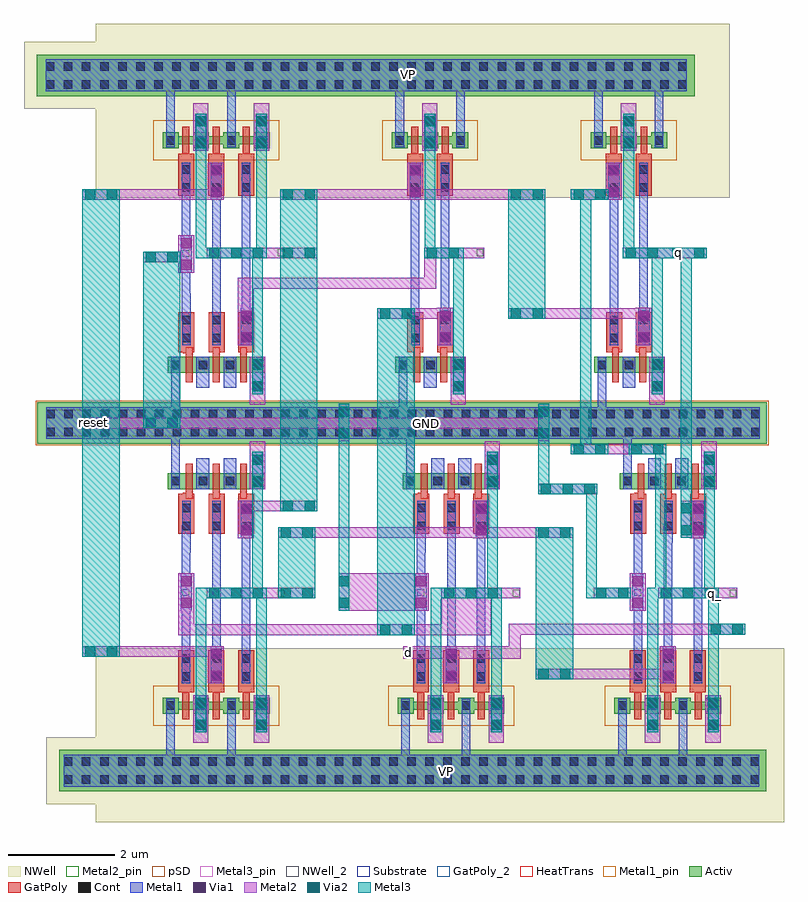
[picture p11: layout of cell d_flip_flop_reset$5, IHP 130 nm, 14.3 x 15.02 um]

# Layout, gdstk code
from math import pi, radians
import gdstk
lib = gdstk.Library(unit=1e-6, precision=1e-09)
def R(c, l, rs):  # rectangles x0, y0, x1, y1
    for r in rs: c.add(gdstk.rectangle(r[:2], r[2:], *l))
def A(c, l, x, y, w, h, nx, ny, dx, dy):  # array of equal rectangles
    R(c, l, [(x+i*dx, y+j*dy, x+i*dx+w, y+j*dy+h) for i in range(nx) for j in range(ny)])
Activ = (1, 0)
GatPoly = (5, 0)
GatPoly_2 = (5, 2)
Cont = (6, 0)
Metal1 = (8, 0)
Metal1_pin = (8, 2)
Metal2 = (10, 0)
Metal2_pin = (10, 2)
pSD = (14, 0)
Via1 = (19, 0)
Via2 = (29, 0)
Metal3 = (30, 0)
Metal3_pin = (30, 2)
NWell = (31, 0)
NWell_2 = (31, 2)
Substrate = (40, 0)
HeatTrans = (51, 0)

ntap1_29 = lib.new_cell('ntap1$29')
R(ntap1_29, Activ, [(0,0,2.5,0.78)])
A(ntap1_29, Cont, 0.15, 0.14, 0.16, 0.16, 7, 2, 0.34, 0.34)
R(ntap1_29, Metal1, [(0.15,0.09,2.35,0.69)])
R(ntap1_29, Metal1_pin, [(0.15,0.09,2.35,0.69), (0.15,0.14,2.35,0.64)])
R(ntap1_29, NWell, [(-0.24,-0.24,2.74,1.02), (0,0,2.5,0.78)])
R(ntap1_29, NWell_2, [(0,0,2.5,0.78)])
ntap1_29.add(gdstk.Label('well', (1.25,0.01), layer=63, texttype=0))
ntap1_29.add(gdstk.Label('well', (1.25,0.01), layer=31, texttype=0))

nmos_12 = lib.new_cell('nmos$12')
A(nmos_12, Activ, 0, 0, 0.3, 0.3, 3, 1, 0.51, 0)
R(nmos_12, Activ, [(0,0,1.32,0.3)])
R(nmos_12, GatPoly, [(0.34,-0.18,0.47,0.48), (0.85,-0.18,0.98,0.48)])
R(nmos_12, GatPoly_2, [(0.34,-0.18,0.47,0.48)])
A(nmos_12, Cont, 0.07, 0.07, 0.16, 0.16, 3, 1, 0.51, 0)
A(nmos_12, Metal1, 0.07, 0, 0.16, 0.3, 3, 1, 0.51, 0)
R(nmos_12, Metal1_pin, [(0.07,0,0.23,0.3), (0.58,0,0.74,0.3)])
R(nmos_12, HeatTrans, [(0.34,-0.18,0.47,0.48), (0.85,-0.18,0.98,0.48)])
nmos_12.add(gdstk.Label('nmos', (0.405,0.15), layer=63, texttype=0))
nmos_12.add(gdstk.Label('nmos', (0.405,0.15), layer=51, texttype=0))
nmos_12.add(gdstk.Label('nmos', (0.915,0.15), layer=51, texttype=0))

ptap1_24 = lib.new_cell('ptap1$24')
R(ptap1_24, Activ, [(0,0,2.5,0.78)])
A(ptap1_24, Cont, 0.15, 0.14, 0.16, 0.16, 7, 2, 0.34, 0.34)
R(ptap1_24, Metal1, [(0.15,0.09,2.35,0.69), (0.15,0.14,2.35,0.64)])
R(ptap1_24, Metal1_pin, [(0.15,0.14,2.35,0.64)])
R(ptap1_24, pSD, [(-0.03,-0.03,2.53,0.81)])
R(ptap1_24, Substrate, [(0,0,2.5,0.78)])
ptap1_24.add(gdstk.Label('sub!', (1.25,0.01), layer=63, texttype=0))
ptap1_24.add(gdstk.Label('sub!', (1.25,0.01), layer=40, texttype=0))

via_34 = lib.new_cell('Via$34')
R(via_34, Metal2, [(-0.1,-0.35,0.1,0.35)])
R(via_34, Via2, [(-0.095,-0.3,0.095,-0.11), (-0.095,0.11,0.095,0.3)])
R(via_34, Metal3, [(-0.1,-0.35,0.1,0.35)])

via_1_5 = lib.new_cell('Via$1$5')
R(via_1_5, Metal1, [(-0.105,-0.35,0.105,0.35)])
R(via_1_5, Metal2, [(-0.1,-0.35,0.1,0.35)])
R(via_1_5, Via1, [(-0.095,-0.3,0.095,-0.11), (-0.095,0.11,0.095,0.3)])

via_2_8 = lib.new_cell('Via$2$8')
R(via_2_8, GatPoly, [(-0.32,-0.15,0.32,0.15)])
R(via_2_8, Cont, [(-0.25,-0.08,-0.09,0.08), (0.09,-0.08,0.25,0.08)])
R(via_2_8, Metal1, [(-0.3,-0.08,0.3,0.08)])

pmos_10 = lib.new_cell('pmos$10')
A(pmos_10, Activ, 0, 0, 0.3, 0.3, 3, 1, 0.57, 0)
R(pmos_10, Activ, [(0,0.075,1.44,0.225)])
R(pmos_10, GatPoly, [(0.37,-0.105,0.5,0.405), (0.37,-0.105,0.5,0.405), (0.94,-0.105,1.07,0.405)])
A(pmos_10, Cont, 0.07, 0.07, 0.16, 0.16, 3, 1, 0.57, 0)
R(pmos_10, Metal1, [(0.07,0.02,0.23,0.28), (0.07,0.02,0.23,0.28), (0.64,0.02,0.8,0.28), (0.64,0.02,0.8,0.28), (1.21,0.02,1.37,0.28)])
R(pmos_10, pSD, [(-0.18,-0.225,1.62,0.525)])
R(pmos_10, NWell, [(-0.31,-0.31,1.75,0.61)])
R(pmos_10, Substrate, [(1.14,0,1.44,0.3)])
R(pmos_10, HeatTrans, [(0.37,-0.105,0.5,0.405), (0.94,-0.105,1.07,0.405)])
pmos_10.add(gdstk.Label('pmos', (0.435,0.15), layer=63, texttype=0))
pmos_10.add(gdstk.Label('pmos', (0.435,0.15), layer=51, texttype=0))
pmos_10.add(gdstk.Label('pmos', (1.005,0.15), layer=51, texttype=0))

nand_2in_nmosx2_5 = lib.new_cell('NAND_2in_nmosx2$5')
R(nand_2in_nmosx2_5, GatPoly, [(0.605,-3.005,0.905,-2.895), (1.165,-3.005,1.465,-2.895), (0.6,0.58,0.9,0.73), (1.16,0.58,1.46,0.73), (0.68,0.68,0.81,0.77), (1.25,0.68,1.38,0.77)])
R(nand_2in_nmosx2_5, Metal1, [(0.445,-4.15,0.605,-3.37), (0.915,-3.675,1.155,-3.415), (0.915,-3.435,1.155,-3.095), (0.67,-2.44,0.835,-2.21), (0.67,-2.21,0.83,-1.27), (1.23,-2.21,1.39,-1.27), (0.67,-1.31,0.83,-0.37), (1.23,-1.31,1.39,-0.37), (0.67,-0.37,0.83,-0.12), (1.23,-0.37,1.39,-0.01), (1.52,1,1.68,1.2), (0.38,1.01,0.54,1.15), (0.38,1.115,0.54,1.99), (1.52,1.115,1.68,1.94)])
R(nand_2in_nmosx2_5, Metal1_pin, [(0.44,-4.395,0.57,-4.265), (0.4,2.15,0.53,2.28)])
R(nand_2in_nmosx2_5, Metal2, [(1.415,-3.995,1.705,-3.795), (1.415,-3.795,1.705,-3.095), (1.165,-2.875,1.465,-2.175), (1.62,-1.24,2.05,-1.04), (0.6,-0.14,0.9,0.56), (0.88,0.78,1.17,0.98), (0.88,0.98,1.17,1.68)])
R(nand_2in_nmosx2_5, Metal2_pin, [(1.255,-2.345,1.385,-2.215), (1.905,-1.205,2.035,-1.075), (0.69,-0.1,0.82,0.03)])
R(nand_2in_nmosx2_5, Metal3, [(1.465,-3.105,1.665,-2.905), (1.465,-2.905,1.665,-1.045), (0.93,-1.09,1.13,0.17), (0.93,0.1,1.13,0.62), (0.93,0.62,1.13,0.72), (0.93,0.71,1.13,0.87)])
R(nand_2in_nmosx2_5, NWell, [(-0.85,-0.1,2.93,3.17)])
nand_2in_nmosx2_5.add(gdstk.Reference(ntap1_29, (-0.23,1.81)))
nand_2in_nmosx2_5.add(gdstk.Reference(nmos_12, (1.695,-3.095), rotation=pi))
nand_2in_nmosx2_5.add(gdstk.Reference(ptap1_24, (-0.22,-4.73)))
nand_2in_nmosx2_5.add(gdstk.Reference(via_34, (1.27,-1.14), rotation=3*pi/2))
nand_2in_nmosx2_5.add(gdstk.Reference(via_1_5, (1.565,-3.445), rotation=pi))
nand_2in_nmosx2_5.add(gdstk.Reference(via_1_5, (1.315,-2.525), rotation=pi))
nand_2in_nmosx2_5.add(gdstk.Reference(via_1_5, (0.75,0.21), rotation=pi))
nand_2in_nmosx2_5.add(gdstk.Reference(via_1_5, (1.03,1.13), rotation=pi))
nand_2in_nmosx2_5.add(gdstk.Reference(via_2_8, (0.755,-2.575), rotation=3*pi/2))
nand_2in_nmosx2_5.add(gdstk.Reference(via_2_8, (1.315,-2.575), rotation=3*pi/2))
nand_2in_nmosx2_5.add(gdstk.Reference(via_2_8, (0.75,0.26), rotation=3*pi/2))
nand_2in_nmosx2_5.add(gdstk.Reference(via_2_8, (1.31,0.26), rotation=3*pi/2))
nand_2in_nmosx2_5.add(gdstk.Reference(via_34, (1.565,-3.445), rotation=pi))
nand_2in_nmosx2_5.add(gdstk.Reference(via_34, (1.03,1.13), rotation=pi))
nand_2in_nmosx2_5.add(gdstk.Reference(pmos_10, (1.75,1.13), rotation=pi))
nand_2in_nmosx2_5.add(gdstk.Label('VP', (0.46,2.21), layer=8, texttype=25))
nand_2in_nmosx2_5.add(gdstk.Label('GND', (0.505,-4.325), layer=8, texttype=25))
nand_2in_nmosx2_5.add(gdstk.Label('y', (1.97,-1.14), layer=10, texttype=25))
nand_2in_nmosx2_5.add(gdstk.Label('b', (0.75,-0.04), layer=10, texttype=25))
nand_2in_nmosx2_5.add(gdstk.Label('a', (1.315,-2.285), layer=10, texttype=25))

via_3_7 = lib.new_cell('Via$3$7')
R(via_3_7, Metal2, [(-0.1,-0.555,0.1,0.555)])
A(via_3_7, Via2, -0.095, -0.505, 0.19, 0.19, 1, 3, 0, 0.41)
R(via_3_7, Metal3, [(-0.1,-0.555,0.1,0.555)])

nmos_1_7 = lib.new_cell('nmos$1$7')
A(nmos_1_7, Activ, 0, 0, 0.3, 0.3, 4, 1, 0.51, 0)
R(nmos_1_7, Activ, [(0,0,1.83,0.3)])
A(nmos_1_7, GatPoly, 0.34, -0.18, 0.13, 0.66, 3, 1, 0.51, 0)
R(nmos_1_7, GatPoly_2, [(0.34,-0.18,0.47,0.48)])
A(nmos_1_7, Cont, 0.07, 0.07, 0.16, 0.16, 4, 1, 0.51, 0)
A(nmos_1_7, Metal1, 0.07, 0, 0.16, 0.3, 4, 1, 0.51, 0)
R(nmos_1_7, Metal1_pin, [(0.07,0,0.23,0.3), (0.58,0,0.74,0.3)])
A(nmos_1_7, HeatTrans, 0.34, -0.18, 0.13, 0.66, 3, 1, 0.51, 0)
nmos_1_7.add(gdstk.Label('nmos', (0.405,0.15), layer=63, texttype=0))
nmos_1_7.add(gdstk.Label('nmos', (0.405,0.15), layer=51, texttype=0))
nmos_1_7.add(gdstk.Label('nmos', (0.915,0.15), layer=51, texttype=0))
nmos_1_7.add(gdstk.Label('nmos', (1.425,0.15), layer=51, texttype=0))

ntap1_1_12 = lib.new_cell('ntap1$1$12')
R(ntap1_1_12, Activ, [(0,0,3.5,0.78)])
A(ntap1_1_12, Cont, 0.14, 0.14, 0.16, 0.16, 10, 2, 0.34, 0.34)
R(ntap1_1_12, Metal1, [(0.14,0.09,3.36,0.69)])
R(ntap1_1_12, Metal1_pin, [(0.14,0.09,3.36,0.69), (0.14,0.14,3.36,0.64)])
R(ntap1_1_12, NWell, [(-0.24,-0.24,3.74,1.02), (0,0,3.5,0.78)])
R(ntap1_1_12, NWell_2, [(0,0,3.5,0.78)])
ntap1_1_12.add(gdstk.Label('well', (1.75,0.01), layer=63, texttype=0))
ntap1_1_12.add(gdstk.Label('well', (1.75,0.01), layer=31, texttype=0))

ptap1_1_5 = lib.new_cell('ptap1$1$5')
R(ptap1_1_5, Activ, [(0,0,3.5,0.78)])
A(ptap1_1_5, Cont, 0.14, 0.14, 0.16, 0.16, 10, 2, 0.34, 0.34)
R(ptap1_1_5, Metal1, [(0.14,0.09,3.36,0.69), (0.14,0.14,3.36,0.64)])
R(ptap1_1_5, Metal1_pin, [(0.14,0.14,3.36,0.64)])
R(ptap1_1_5, pSD, [(-0.03,-0.03,3.53,0.81)])
R(ptap1_1_5, Substrate, [(0,0,3.5,0.78)])
ptap1_1_5.add(gdstk.Label('sub!', (1.75,0.01), layer=63, texttype=0))
ptap1_1_5.add(gdstk.Label('sub!', (1.75,0.01), layer=40, texttype=0))

pmos_1_9 = lib.new_cell('pmos$1$9')
A(pmos_1_9, Activ, 0, 0, 0.3, 0.3, 4, 1, 0.57, 0)
R(pmos_1_9, Activ, [(0,0.075,2.01,0.225)])
A(pmos_1_9, GatPoly, 0.37, -0.105, 0.13, 0.51, 3, 1, 0.57, 0)
R(pmos_1_9, GatPoly, [(0.37,-0.105,0.5,0.405)])
A(pmos_1_9, Cont, 0.07, 0.07, 0.16, 0.16, 4, 1, 0.57, 0)
A(pmos_1_9, Metal1, 0.64, 0.02, 0.16, 0.26, 3, 1, 0.57, 0)
R(pmos_1_9, Metal1, [(0.07,0.02,0.23,0.28), (0.07,0.02,0.23,0.28), (0.64,0.02,0.8,0.28)])
R(pmos_1_9, pSD, [(-0.18,-0.225,2.19,0.525)])
R(pmos_1_9, NWell, [(-0.31,-0.31,2.32,0.61)])
R(pmos_1_9, Substrate, [(1.71,0,2.01,0.3)])
A(pmos_1_9, HeatTrans, 0.37, -0.105, 0.13, 0.51, 3, 1, 0.57, 0)
pmos_1_9.add(gdstk.Label('pmos', (0.435,0.15), layer=63, texttype=0))
pmos_1_9.add(gdstk.Label('pmos', (0.435,0.15), layer=51, texttype=0))
pmos_1_9.add(gdstk.Label('pmos', (1.005,0.15), layer=51, texttype=0))
pmos_1_9.add(gdstk.Label('pmos', (1.575,0.15), layer=51, texttype=0))

nand_3in_nmosx3_8 = lib.new_cell('NAND_3in_nmosx3$8')
R(nand_3in_nmosx3_8, GatPoly, [(0.115,-3.025,0.245,-2.915), (0.685,-3.025,0.815,-2.915), (0.035,-3.005,0.335,-2.895), (0.605,-3.005,0.905,-2.895), (1.165,-3.005,1.465,-2.895), (0.03,0.58,0.33,0.73), (0.6,0.58,0.9,0.73), (1.16,0.58,1.46,0.73), (0.68,0.68,0.81,0.77), (1.25,0.68,1.38,0.77)])
R(nand_3in_nmosx3_8, Metal1, [(-0.095,-4.15,0.065,-3.37), (0.375,-3.675,0.615,-3.415), (0.885,-3.675,1.125,-3.415), (0.375,-3.435,0.615,-3.095), (0.885,-3.435,1.125,-3.095), (0.67,-2.44,0.835,-2.09), (0.1,-2.42,0.265,-1.91), (0.67,-2.21,0.83,-1.27), (1.23,-2.21,1.39,-1.27), (0.1,-1.91,0.26,-0.56), (0.67,-1.31,0.83,-0.37), (1.23,-1.31,1.39,-0.37), (0.1,-0.62,0.26,-0.04), (1.23,-0.53,1.39,0), (0.67,-0.37,0.83,-0.11), (0.95,1,1.11,1.2), (-0.19,1.01,-0.03,1.15), (-0.19,1.115,-0.03,1.99), (0.95,1.115,1.11,1.94)])
R(nand_3in_nmosx3_8, Metal1_pin, [(0.44,-4.405,0.57,-4.275), (0.74,2.15,0.87,2.28)])
R(nand_3in_nmosx3_8, Metal2, [(1.375,-3.995,1.665,-3.795), (1.375,-3.795,1.665,-3.095), (1.155,-2.875,1.455,-2.175), (0.03,-1.51,0.33,-0.81), (1.62,-1.24,2.05,-1.04), (0.59,-0.14,0.89,0.56), (0.31,0.78,0.6,0.98), (1.45,0.78,1.74,0.98), (0.31,0.98,0.6,1.68), (1.45,0.98,1.74,1.68)])
R(nand_3in_nmosx3_8, Metal2_pin, [(1.255,-2.385,1.385,-2.255), (0.11,-1.215,0.24,-1.085), (1.905,-1.205,2.035,-1.075), (0.69,-0.07,0.82,0.06)])
R(nand_3in_nmosx3_8, Metal3, [(1.425,-3.105,1.625,-2.905), (1.425,-2.905,1.625,-2.5), (1.425,-2.5,1.625,-1.15), (0.36,-1.24,0.56,-0.97), (0.38,-1.24,0.565,-1.04), (1.66,-1.24,1.7,-1.09), (1.5,-1.09,1.7,0.17), (0.36,-0.97,0.56,0.26), (1.5,-0.03,1.7,0.62), (0.36,0.08,0.56,0.78), (1.5,0.62,1.7,0.72), (1.5,0.71,1.7,0.87)])
R(nand_3in_nmosx3_8, NWell, [(-1.52,-0.1,-0.85,3.17), (-0.85,-0.1,2.93,3.17)])
nand_3in_nmosx3_8.add(gdstk.Reference(via_1_5, (1.525,-3.445), rotation=pi))
nand_3in_nmosx3_8.add(gdstk.Reference(via_1_5, (1.315,-2.525), rotation=pi))
nand_3in_nmosx3_8.add(gdstk.Reference(via_1_5, (0.18,-1.16), rotation=pi))
nand_3in_nmosx3_8.add(gdstk.Reference(via_1_5, (0.75,0.21), rotation=pi))
nand_3in_nmosx3_8.add(gdstk.Reference(via_1_5, (0.46,1.13), rotation=pi))
nand_3in_nmosx3_8.add(gdstk.Reference(via_1_5, (1.6,1.13), rotation=pi))
nand_3in_nmosx3_8.add(gdstk.Reference(via_3_7, (1.12,-1.14), rotation=3*pi/2))
nand_3in_nmosx3_8.add(gdstk.Reference(nmos_1_7, (1.665,-3.095), rotation=pi))
nand_3in_nmosx3_8.add(gdstk.Reference(ntap1_1_12, (-0.9,1.81)))
nand_3in_nmosx3_8.add(gdstk.Reference(ptap1_1_5, (-0.89,-4.73)))
nand_3in_nmosx3_8.add(gdstk.Reference(via_34, (1.525,-3.445), rotation=pi))
nand_3in_nmosx3_8.add(gdstk.Reference(via_34, (0.46,1.13), rotation=pi))
nand_3in_nmosx3_8.add(gdstk.Reference(via_34, (1.6,1.13), rotation=pi))
nand_3in_nmosx3_8.add(gdstk.Reference(via_2_8, (0.185,-2.575), rotation=3*pi/2))
nand_3in_nmosx3_8.add(gdstk.Reference(via_2_8, (0.755,-2.575), rotation=3*pi/2))
nand_3in_nmosx3_8.add(gdstk.Reference(via_2_8, (1.315,-2.575), rotation=3*pi/2))
nand_3in_nmosx3_8.add(gdstk.Reference(via_2_8, (0.18,0.26), rotation=3*pi/2))
nand_3in_nmosx3_8.add(gdstk.Reference(via_2_8, (0.75,0.26), rotation=3*pi/2))
nand_3in_nmosx3_8.add(gdstk.Reference(via_2_8, (1.31,0.26), rotation=3*pi/2))
nand_3in_nmosx3_8.add(gdstk.Reference(pmos_1_9, (1.75,1.13), rotation=pi))
nand_3in_nmosx3_8.add(gdstk.Label('VP', (0.8,2.21), layer=8, texttype=25))
nand_3in_nmosx3_8.add(gdstk.Label('GND', (0.505,-4.335), layer=8, texttype=25))
nand_3in_nmosx3_8.add(gdstk.Label('y', (1.97,-1.14), layer=10, texttype=25))
nand_3in_nmosx3_8.add(gdstk.Label('b', (0.76,0.02), layer=10, texttype=25))
nand_3in_nmosx3_8.add(gdstk.Label('c', (0.17,-1.15), layer=10, texttype=25))
nand_3in_nmosx3_8.add(gdstk.Label('a', (1.315,-2.325), layer=10, texttype=25))

ptap1_3_7 = lib.new_cell('ptap1$3$7')
R(ptap1_3_7, Activ, [(0,0,2.2,0.78)])
A(ptap1_3_7, Cont, 0.17, 0.14, 0.16, 0.16, 6, 2, 0.34, 0.34)
R(ptap1_3_7, Metal1, [(0.17,0.09,2.03,0.69), (0.17,0.14,2.03,0.64)])
R(ptap1_3_7, Metal1_pin, [(0.17,0.14,2.03,0.64)])
R(ptap1_3_7, pSD, [(-0.03,-0.03,2.23,0.81)])
R(ptap1_3_7, Substrate, [(0,0,2.2,0.78)])
ptap1_3_7.add(gdstk.Label('sub!', (1.1,0.01), layer=63, texttype=0))
ptap1_3_7.add(gdstk.Label('sub!', (1.1,0.01), layer=40, texttype=0))

ntap1_2_7 = lib.new_cell('ntap1$2$7')
R(ntap1_2_7, Activ, [(0,0,1.7,0.78)])
A(ntap1_2_7, Cont, 0.09, 0.14, 0.16, 0.16, 5, 2, 0.34, 0.34)
R(ntap1_2_7, Metal1, [(0.09,0.09,1.61,0.69)])
R(ntap1_2_7, Metal1_pin, [(0.09,0.09,1.61,0.69), (0.09,0.14,1.61,0.64)])
R(ntap1_2_7, NWell, [(-0.24,-0.24,1.94,1.02), (0,0,1.7,0.78)])
R(ntap1_2_7, NWell_2, [(0,0,1.7,0.78)])
ntap1_2_7.add(gdstk.Label('well', (0.85,0.01), layer=63, texttype=0))
ntap1_2_7.add(gdstk.Label('well', (0.85,0.01), layer=31, texttype=0))

ntap1_5_5 = lib.new_cell('ntap1$5$5')
R(ntap1_5_5, Activ, [(0,0,2.4,0.78)])
A(ntap1_5_5, Cont, 0.1, 0.14, 0.16, 0.16, 7, 2, 0.34, 0.34)
R(ntap1_5_5, Metal1, [(0.1,0.09,2.3,0.69)])
R(ntap1_5_5, Metal1_pin, [(0.1,0.09,2.3,0.69), (0.1,0.14,2.3,0.64)])
R(ntap1_5_5, NWell, [(-0.24,-0.24,2.64,1.02), (0,0,2.4,0.78)])
R(ntap1_5_5, NWell_2, [(0,0,2.4,0.78)])
ntap1_5_5.add(gdstk.Label('well', (1.2,0.01), layer=63, texttype=0))
ntap1_5_5.add(gdstk.Label('well', (1.2,0.01), layer=31, texttype=0))

via_4_6 = lib.new_cell('Via$4$6')
R(via_4_6, Metal2, [(-0.35,-0.1,0.35,0.1)])
R(via_4_6, Via2, [(-0.3,-0.095,-0.11,0.095), (0.11,-0.095,0.3,0.095)])
R(via_4_6, Metal3, [(-0.35,-0.1,0.35,0.1)])

via_5_18 = lib.new_cell('Via$5$18')
R(via_5_18, Metal2, [(-0.555,-0.1,0.555,0.1)])
A(via_5_18, Via2, -0.505, -0.095, 0.19, 0.19, 3, 1, 0.41, 0)
R(via_5_18, Metal3, [(-0.555,-0.1,0.555,0.1)])

ntap1_4_5 = lib.new_cell('ntap1$4$5')
R(ntap1_4_5, Activ, [(0,0,2.2,0.78)])
A(ntap1_4_5, Cont, 0.17, 0.14, 0.16, 0.16, 6, 2, 0.34, 0.34)
R(ntap1_4_5, Metal1, [(0.17,0.09,2.03,0.69)])
R(ntap1_4_5, Metal1_pin, [(0.17,0.09,2.03,0.69), (0.17,0.14,2.03,0.64)])
R(ntap1_4_5, NWell, [(-0.24,-0.24,2.44,1.02), (0,0,2.2,0.78)])
R(ntap1_4_5, NWell_2, [(0,0,2.2,0.78)])
ntap1_4_5.add(gdstk.Label('well', (1.1,0.01), layer=63, texttype=0))
ntap1_4_5.add(gdstk.Label('well', (1.1,0.01), layer=31, texttype=0))

d_flip_flop_reset_5 = lib.new_cell('d_flip_flop_reset$5')
R(d_flip_flop_reset_5, Metal1_pin, [(3.325,-7.965,3.455,-7.835), (2.955,-1.405,3.085,-1.275), (2.615,5.145,2.745,5.275)])
R(d_flip_flop_reset_5, Metal2, [(5.07,-6.16,6.77,-5.96), (5.66,-6.16,7.36,-5.96), (7.34,-6.16,7.63,-5.96), (2.58,-5.78,3.62,-5.54), (3.62,-5.78,4.79,-5.54), (4.56,-5.78,4.79,-5.12), (4.64,-5.78,4.79,-5.12), (-3.46,-5.74,-1.96,-5.54), (-2.55,-5.74,-1.05,-5.54), (-1.66,-5.33,-1.36,-4.91), (-1.59,-5.33,3.44,-5.13), (3.29,-5.33,4.23,-5.2), (3.29,-5.325,4.23,-4.445), (4.74,-5.32,6.3,-5.12), (6.3,-5.32,8.31,-5.12), (-1.66,-5.29,-1.36,-4.87), (1.56,-4.87,2.78,-4.17), (-0.34,-4.64,0.85,-4.44), (0.79,-3.5,1.98,-3.3), (1.61,-3.5,2.8,-3.3), (2.77,-3.5,3.96,-3.3), (3.83,-3.5,5.53,-3.3), (7.8,-3.26,8.165,-2.805), (-0.37,-3,0.83,-2.8), (5.86,-1.93,6.82,-1.73), (-3.33,-1.445,4.67,-1.245), (4.62,-1.445,5.26,-1.245), (2.32,0.62,3.51,0.82), (4.85,0.62,5.3,0.82), (5.3,0.62,5.57,0.82), (5.52,0.62,7.02,0.82), (-0.535,0.825,-0.235,1.39), (-0.53,1.19,1.7,1.39), (1.7,1.19,3.2,1.39), (2.97,1.25,3.2,1.81), (-0.54,1.76,0.96,1.96), (-3.46,2.86,-1.96,3.06), (-2.55,2.86,-1.05,3.06), (0.61,2.86,1.05,3.06), (1.04,2.86,2.54,3.06), (2.18,2.86,5.21,3.06), (6.22,2.86,6.57,3.06)])
R(d_flip_flop_reset_5, Metal2_pin, [(2.605,-5.725,2.735,-5.595), (8.375,-4.605,8.505,-4.475), (-3.325,-1.395,-3.195,-1.265), (7.695,1.795,7.825,1.925)])
R(d_flip_flop_reset_5, Metal3, [(5.07,-6.16,5.77,-5.63), (-3.46,-5.74,-2.76,-1.74), (5.07,-5.63,5.77,-4.47), (2.09,-5.29,2.79,-4.13), (-3.46,-4.71,-2.76,-0.71), (6.02,-4.64,6.22,-3.64), (7.32,-4.64,7.52,-2.355), (0.22,-4.59,0.92,-3.43), (5.07,-4.59,5.77,-3.43), (6.02,-4.56,6.22,-3.56), (1.36,-4.36,1.56,-3.83), (2.09,-4.2,2.79,-3.04), (1.36,-3.94,1.56,-1.46), (6.02,-3.58,6.22,-2.58), (2.09,-3.08,2.79,-1.92), (7.8,-2.935,8,-0.65), (0.26,-2.93,0.96,-1.8), (5.12,-2.68,5.32,-1.68), (7.32,-2.355,7.52,-1.86), (0.26,-2.01,0.96,1.99), (2.09,-2,2.79,-0.84), (5.91,-1.88,6.11,-1.43), (-2.32,-1.44,-1.62,1.78), (5.91,-1.43,6.11,1.18), (-3.46,-1.05,-2.76,2.95), (2.09,-0.99,2.79,0.17), (7.8,-0.65,8,1.96), (2.09,-0.34,2.79,0.82), (5.91,0.45,6.11,3.06), (4.55,0.79,5.25,1.92), (7.41,1.76,7.64,1.96), (4.55,1.8,5.25,2.93), (0.26,1.84,0.96,2.97)])
R(d_flip_flop_reset_5, Metal3_pin, [(-3.185,-1.395,-3.055,-1.265)])
d_flip_flop_reset_5.add(gdstk.Reference(nand_2in_nmosx2_5, (2.05,3)))
d_flip_flop_reset_5.add(gdstk.Reference(nand_3in_nmosx3_8, (-1.69,3)))
d_flip_flop_reset_5.add(gdstk.Reference(nand_3in_nmosx3_8, (2.73,-5.68), x_reflection=True))
d_flip_flop_reset_5.add(gdstk.Reference(ptap1_3_7, (0.45,-1.73)))
d_flip_flop_reset_5.add(gdstk.Reference(ptap1_3_7, (4.53,-1.73)))
d_flip_flop_reset_5.add(gdstk.Reference(ntap1_2_7, (0.52,4.81)))
d_flip_flop_reset_5.add(gdstk.Reference(ntap1_2_7, (0.52,-8.27)))
d_flip_flop_reset_5.add(gdstk.Reference(ntap1_5_5, (3.91,-8.27)))
d_flip_flop_reset_5.add(gdstk.Reference(via_4_6, (0.61,1.86)))
d_flip_flop_reset_5.add(gdstk.Reference(via_4_6, (0.61,2.96)))
d_flip_flop_reset_5.add(gdstk.Reference(via_4_6, (4.9,2.96)))
d_flip_flop_reset_5.add(gdstk.Reference(via_4_6, (4.9,0.72)))
d_flip_flop_reset_5.add(gdstk.Reference(via_4_6, (0.57,-4.54)))
d_flip_flop_reset_5.add(gdstk.Reference(via_4_6, (0.57,-3.4)))
d_flip_flop_reset_5.add(gdstk.Reference(via_4_6, (5.42,-3.4)))
d_flip_flop_reset_5.add(gdstk.Reference(via_4_6, (5.42,-6.06)))
d_flip_flop_reset_5.add(gdstk.Reference(nand_3in_nmosx3_8, (-1.69,-5.68), x_reflection=True))
d_flip_flop_reset_5.add(gdstk.Reference(via_4_6, (2.44,0.72)))
d_flip_flop_reset_5.add(gdstk.Reference(via_4_6, (2.44,-5.23)))
d_flip_flop_reset_5.add(gdstk.Reference(via_4_6, (0.61,-2.9)))
d_flip_flop_reset_5.add(gdstk.Reference(via_4_6, (-3.11,2.96)))
d_flip_flop_reset_5.add(gdstk.Reference(via_4_6, (-3.11,-5.64)))
d_flip_flop_reset_5.add(gdstk.Reference(via_34, (7.9,-3.15)))
d_flip_flop_reset_5.add(gdstk.Reference(via_4_6, (7.94,1.86), rotation=pi))
d_flip_flop_reset_5.add(gdstk.Reference(via_4_6, (6.08,2.96), rotation=pi))
d_flip_flop_reset_5.add(gdstk.Reference(via_4_6, (-1.97,-1.34)))
d_flip_flop_reset_5.add(gdstk.Reference(via_4_6, (-1.97,1.78)))
d_flip_flop_reset_5.add(gdstk.Reference(via_4_6, (1.46,-1.33), rotation=pi/2))
d_flip_flop_reset_5.add(gdstk.Reference(via_4_6, (1.46,-4.52), rotation=pi/2))
d_flip_flop_reset_5.add(gdstk.Reference(via_4_6, (5.22,-1.33), rotation=pi/2))
d_flip_flop_reset_5.add(gdstk.Reference(via_4_6, (6.51,-4.54)))
d_flip_flop_reset_5.add(gdstk.Reference(via_5_18, (5.67,-2.58)))
d_flip_flop_reset_5.add(gdstk.Reference(nand_3in_nmosx3_8, (6.81,-5.68), x_reflection=True))
d_flip_flop_reset_5.add(gdstk.Reference(via_4_6, (8.66,-5.22)))
d_flip_flop_reset_5.add(gdstk.Reference(via_34, (6.08,-1.83), rotation=pi/2))
d_flip_flop_reset_5.add(gdstk.Reference(via_34, (7.17,-1.83), rotation=pi/2))
d_flip_flop_reset_5.add(gdstk.Reference(nand_2in_nmosx2_5, (5.79,3)))
d_flip_flop_reset_5.add(gdstk.Reference(ntap1_4_5, (3.84,4.81)))
d_flip_flop_reset_5.add(gdstk.Reference(ntap1_4_5, (-4.32,4.81)))
d_flip_flop_reset_5.add(gdstk.Reference(ntap1_2_7, (-3.9,-8.27)))
d_flip_flop_reset_5.add(gdstk.Reference(ptap1_3_7, (-4.31,-1.73)))
d_flip_flop_reset_5.add(gdstk.Label('VP', (2.68,5.21), layer=8, texttype=25))
d_flip_flop_reset_5.add(gdstk.Label('VP', (3.39,-7.9), layer=8, texttype=25))
d_flip_flop_reset_5.add(gdstk.Label('GND', (3.02,-1.34), layer=8, texttype=25))
d_flip_flop_reset_5.add(gdstk.Label('d', (2.67,-5.66), layer=10, texttype=25))
d_flip_flop_reset_5.add(gdstk.Label('q_', (8.44,-4.54), layer=10, texttype=25))
d_flip_flop_reset_5.add(gdstk.Label('q', (7.76,1.86), layer=10, texttype=25))
d_flip_flop_reset_5.add(gdstk.Label('reset', (-3.26,-1.33), layer=10, texttype=25))
d_flip_flop_reset_5.add(gdstk.Label('clk', (-3.12,-1.33), layer=30, texttype=25))

lib.write_gds('d_flip_flop_reset_5.gds')
